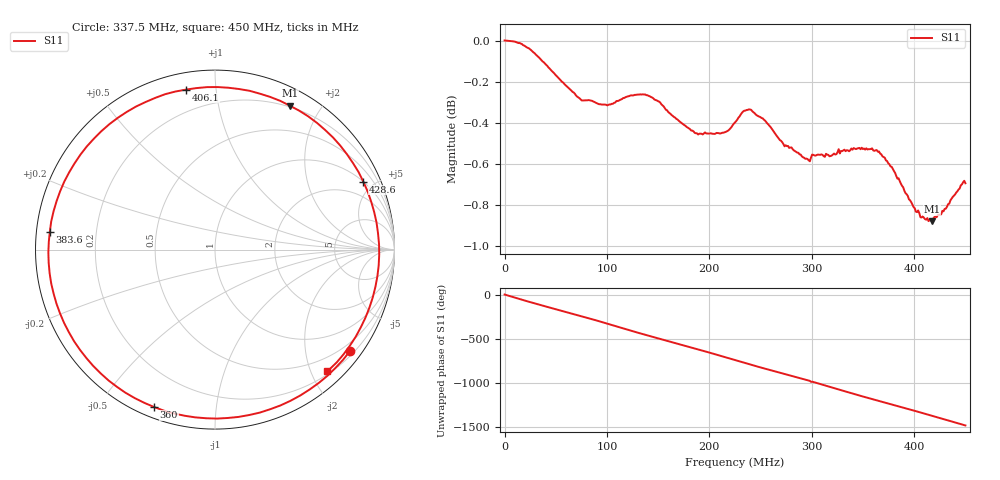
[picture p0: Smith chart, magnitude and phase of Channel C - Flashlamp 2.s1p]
! NanoVNA-App
! Date: 2026-10-05 11:13:25
! Start: 50kHz Stop: 450MHz Points: 401
! S-Parameter data: F S11
# Hz S RI R 50
!  Frequency  S11_Real  S11_Imag
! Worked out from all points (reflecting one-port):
!   401 points, 50 kHz to 450 MHz, reference 50 ohm
!   lowest |S11| = -0.9 dB at 417.4 MHz (marker M1), VSWR 19.78, Z = 9.33 + j81.6 ohm
!   phase of S11 starts at -0 deg and turns -1487 deg over the sweep
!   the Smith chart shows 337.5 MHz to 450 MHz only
!   S11 on the Smith chart (normalised r, x): 337.5 MHz: 0.30, -2.97; 360 MHz: 0.05, -0.68; 383.6 MHz: 0.04, +0.05; 406.1 MHz: 0.08, +0.83; 428.6 MHz: 1.00, +4.37; 450 MHz: 0.25, -2.26
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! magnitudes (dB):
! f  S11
! 50 kHz  0.0
! 24.8 MHz  0.0
! 56.29 MHz  -0.2
! 76.54 MHz  -0.3
! 99.04 MHz  -0.3
! 112.5 MHz  -0.3
! 139.5 MHz  -0.3
! 150.8 MHz  -0.3
! 168.8 MHz  -0.4
! 191.3 MHz  -0.5
! 213.8 MHz  -0.4
! 225 MHz  -0.4
! 234 MHz  -0.3
! 240.8 MHz  -0.3
! 254.3 MHz  -0.4
! 271.1 MHz  -0.5
! 281.3 MHz  -0.5
! 295.9 MHz  -0.6
! 302.6 MHz  -0.6
! 337.5 MHz  -0.5
! 360 MHz  -0.5
! 369 MHz  -0.6
! 383.6 MHz  -0.7
! 393.8 MHz  -0.8
! 406.1 MHz  -0.9
! 417.4 MHz  -0.9
! 428.6 MHz  -0.8
! 450 MHz  -0.7
